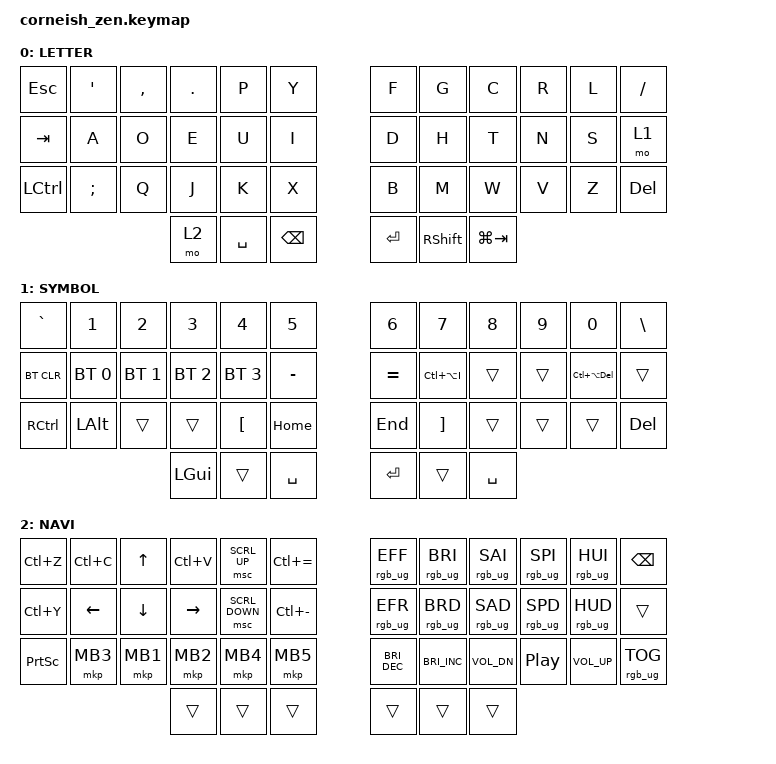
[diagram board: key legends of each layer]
/*
 * Copyright (c) 2020 The ZMK Contributors
 * SPDX-License-Identifier: MIT
 */

#include <behaviors.dtsi>
#include <dt-bindings/zmk/bt.h>
#include <dt-bindings/zmk/keys.h>
#include <dt-bindings/zmk/pointing.h>
#include <dt-bindings/zmk/rgb.h>

/ {
    behaviors {
        td0: td0 {
            compatible = "zmk,behavior-tap-dance";
            label = "TD0";
            #binding-cells = <0>;
            bindings = <&kp LEFT_SHIFT>, <&kp CAPS>;
        };
    };

    keymap {
        compatible = "zmk,keymap";

        TEXT {
            display-name = "LETTER";

            // Row legends in comment are just illustrative.

            bindings = <
&kp ESC    &kp SQT   &kp COMMA  &kp DOT  &kp P      &kp Y       &kp F    &kp G      &kp C        &kp R  &kp L  &kp FSLH
&kp TAB    &kp A     &kp O      &kp E    &kp U      &kp I       &kp D    &kp H      &kp T        &kp N  &kp S  &mo 1
&kp LCTRL  &kp SEMI  &kp Q      &kp J    &kp K      &kp X       &kp B    &kp M      &kp W        &kp V  &kp Z  &kp DEL
                                &mo 2    &kp SPACE  &kp BSPC    &kp RET  &kp RSHFT  &kp LG(TAB)
            >;
        };

        SYMBOL {
            display-name = "SYMBOL";
            bindings = <
&kp GRAVE   &kp N1        &kp N2        &kp N3        &kp N4        &kp N5       &kp N6     &kp N7         &kp N8     &kp N9  &kp N0              &kp BSLH
&bt BT_CLR  &bt BT_SEL 0  &bt BT_SEL 1  &bt BT_SEL 2  &bt BT_SEL 3  &kp MINUS    &kp EQUAL  &kp LC(LA(I))  &trans     &trans  &kp LC(LA(DELETE))  &trans
&kp RCTRL   &kp LALT      &trans        &trans        &kp LBKT      &kp HOME     &kp END    &kp RBKT       &trans     &trans  &trans              &kp DEL
                                        &kp LGUI      &trans        &kp SPACE    &kp RET    &trans         &kp SPACE
            >;
        };

        NAVI {
            display-name = "NAVI";
            bindings = <
&kp LC(Z)        &kp LC(C)  &kp UP    &kp LC(V)  &msc SCRL_UP    &kp LC(EQUAL)    &rgb_ug RGB_EFF       &rgb_ug RGB_BRI       &rgb_ug RGB_SAI  &rgb_ug RGB_SPI   &rgb_ug RGB_HUI  &kp BSPC
&kp LC(Y)        &kp LEFT   &kp DOWN  &kp RIGHT  &msc SCRL_DOWN  &kp LC(MINUS)    &rgb_ug RGB_EFR       &rgb_ug RGB_BRD       &rgb_ug RGB_SAD  &rgb_ug RGB_SPD   &rgb_ug RGB_HUD  &trans
&kp PRINTSCREEN  &mkp MB3   &mkp MB1  &mkp MB2   &mkp MB4        &mkp MB5         &kp C_BRIGHTNESS_DEC  &kp C_BRIGHTNESS_INC  &kp C_VOL_DN     &kp C_PLAY_PAUSE  &kp C_VOLUME_UP  &rgb_ug RGB_TOG
                                      &trans     &trans          &trans           &trans                &trans                &trans
            >;
        };
    };
};
